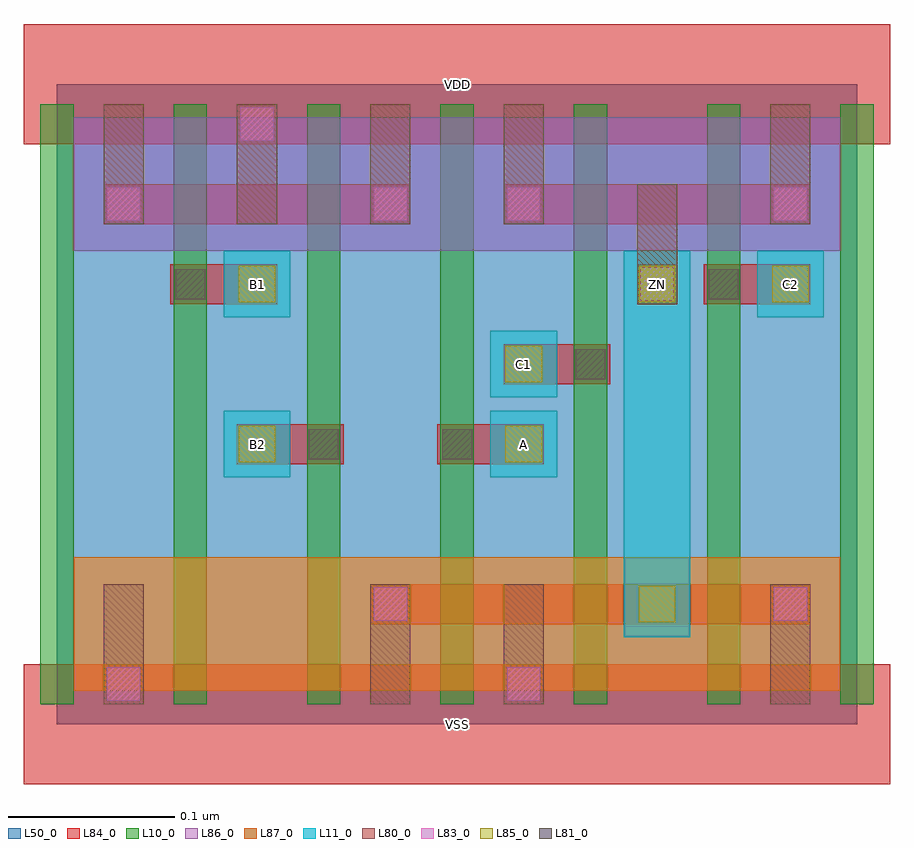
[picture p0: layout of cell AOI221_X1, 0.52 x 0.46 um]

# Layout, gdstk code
import gdstk
lib = gdstk.Library(unit=1e-6, precision=1e-09)
def R(c, l, rs):  # rectangles x0, y0, x1, y1
    for r in rs: c.add(gdstk.rectangle(r[:2], r[2:], *l))
def A(c, l, x, y, w, h, nx, ny, dx, dy):  # array of equal rectangles
    R(c, l, [(x+i*dx, y+j*dy, x+i*dx+w, y+j*dy+h) for i in range(nx) for j in range(ny)])
L10_0 = (10, 0)
L11_0 = (11, 0)
L50_0 = (50, 0)
L80_0 = (80, 0)
L81_0 = (81, 0)
L83_0 = (83, 0)
L84_0 = (84, 0)
L85_0 = (85, 0)
L86_0 = (86, 0)
L87_0 = (87, 0)

aoi221_x1 = lib.new_cell('AOI221_X1')
A(aoi221_x1, L10_0, -0.01, 0.012, 0.02, 0.36, 7, 1, 0.08, 0)
R(aoi221_x1, L11_0, [(0.34,0.052,0.38,0.284), (0.1,0.148,0.14,0.188), (0.26,0.148,0.3,0.188), (0.26,0.196,0.3,0.236), (0.1,0.244,0.14,0.284), (0.42,0.244,0.46,0.284)])
R(aoi221_x1, L50_0, [(0,0,0.48,0.384)])
A(aoi221_x1, L80_0, 0.028, 0.3, 0.024, 0.072, 4, 1, 0.08, 0)
R(aoi221_x1, L80_0, [(0.028,0.012,0.052,0.084), (0.188,0.012,0.212,0.084), (0.268,0.012,0.292,0.084), (0.428,0.012,0.452,0.084), (0.348,0.252,0.372,0.324), (0.428,0.3,0.452,0.372)])
R(aoi221_x1, L81_0, [(0.151,0.159,0.169,0.177), (0.231,0.159,0.249,0.177), (0.311,0.207,0.329,0.225), (0.071,0.255,0.089,0.273), (0.391,0.255,0.409,0.273)])
R(aoi221_x1, L83_0, [(0.03,0.014,0.05,0.034), (0.27,0.014,0.29,0.034), (0.19,0.062,0.21,0.082), (0.43,0.062,0.45,0.082), (0.35,0.254,0.37,0.274), (0.03,0.302,0.05,0.322), (0.19,0.302,0.21,0.322), (0.27,0.302,0.29,0.322), (0.43,0.302,0.45,0.322), (0.11,0.35,0.13,0.37)])
R(aoi221_x1, L84_0, [(-0.02,-0.036,0.5,0.036), (0.188,0.06,0.452,0.084), (0.108,0.156,0.172,0.18), (0.228,0.156,0.292,0.18), (0.268,0.204,0.332,0.228), (0.068,0.252,0.132,0.276), (0.348,0.252,0.372,0.276), (0.388,0.252,0.452,0.276), (0.028,0.3,0.212,0.324), (0.268,0.3,0.452,0.324), (-0.02,0.348,0.5,0.42)])
R(aoi221_x1, L85_0, [(0.349,0.061,0.371,0.083), (0.109,0.157,0.131,0.179), (0.269,0.157,0.291,0.179), (0.269,0.205,0.291,0.227), (0.109,0.253,0.131,0.275), (0.349,0.253,0.371,0.275), (0.429,0.253,0.451,0.275)])
R(aoi221_x1, L86_0, [(0.01,0.284,0.47,0.364)])
R(aoi221_x1, L87_0, [(0.01,0.02,0.47,0.1)])
aoi221_x1.add(gdstk.Label('VDD', (0.24,0.384), layer=88, texttype=0))
aoi221_x1.add(gdstk.Label('VSS', (0.24,0), layer=88, texttype=0))
aoi221_x1.add(gdstk.Label('ZN', (0.36,0.264), layer=31, texttype=0))
aoi221_x1.add(gdstk.Label('A', (0.28,0.168), layer=31, texttype=0))
aoi221_x1.add(gdstk.Label('C2', (0.44,0.264), layer=31, texttype=0))
aoi221_x1.add(gdstk.Label('B2', (0.12,0.168), layer=31, texttype=0))
aoi221_x1.add(gdstk.Label('B1', (0.12,0.264), layer=31, texttype=0))
aoi221_x1.add(gdstk.Label('C1', (0.28,0.216), layer=31, texttype=0))

lib.write_gds('AOI221_X1.gds')
